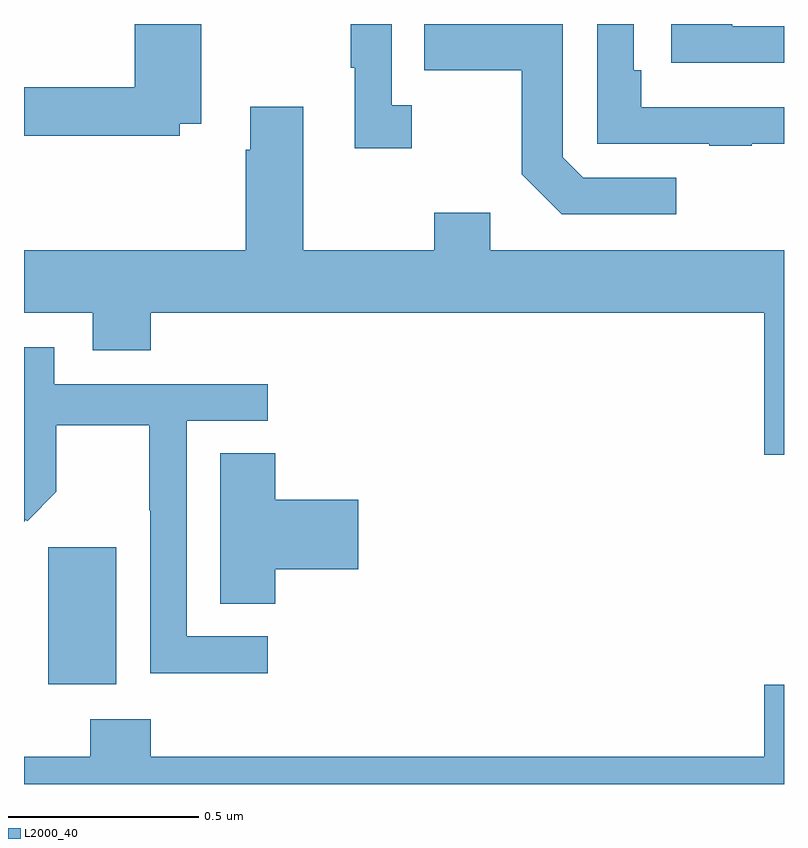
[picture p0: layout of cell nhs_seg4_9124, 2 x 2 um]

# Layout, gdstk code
import gdstk
lib = gdstk.Library(unit=1e-6, precision=1e-09)
def R(c, l, rs):  # rectangles x0, y0, x1, y1
    for r in rs: c.add(gdstk.rectangle(r[:2], r[2:], *l))
def P(c, l, *ps):  # polygons
    for p in ps: c.add(gdstk.Polygon(p, *l))
L2000_40 = (2000, 40)

nhs_seg4_9124 = lib.new_cell('nhs_seg4_9124')
R(nhs_seg4_9124, L2000_40, [(223.064,809.162,223.243,809.523)])
P(nhs_seg4_9124, L2000_40, [(224.915,810.585),(225,810.585),(225,810.681),(224.624,810.681),(224.624,810.778),(224.604,810.778),(224.604,810.9),(224.508,810.9),(224.508,810.585),(224.803,810.585),(224.803,810.58),(224.915,810.58)],
  [(224.716,810.495),(224.472,810.495),(224.418,810.549),(224.418,810.9),(224.053,810.9),(224.053,810.778),(224.31,810.778),(224.31,810.505),(224.415,810.399),(224.716,810.399)],
  [(225,810.894),(224.864,810.894),(224.864,810.9),(224.703,810.9),(224.703,810.798),(225,810.798)],
  [(223.41,810.638),(223.467,810.638),(223.467,810.9),(223.292,810.9),(223.292,810.734),(223,810.734),(223,810.606),(223.41,810.606)],
  [(224.02,810.686),(223.968,810.686),(223.968,810.9),(223.86,810.9),(223.86,810.785),(223.871,810.785),(223.871,810.573),(224.02,810.573)],
  [(225,810.304),(224.227,810.304),(224.227,810.403),(224.08,810.403),(224.08,810.304),(223.735,810.304),(223.735,810.682),(223.595,810.682),(223.595,810.569),(223.583,810.569),(223.583,810.304),(223,810.304),(223,810.14),(223.181,810.14),(223.181,810.041),(223.334,810.041),(223.334,810.14),(224.948,810.14),(224.948,809.766),(225,809.766)],
  [(223.642,809.289),(223.428,809.289),(223.428,809.856),(223.642,809.856),(223.642,809.952),(223.08,809.952),(223.08,810.049),(223,810.049),(223,809.59),(223.005,809.595),(223.008,809.592),(223.085,809.669),(223.085,809.844),(223.33,809.844),(223.33,809.62),(223.332,809.62),(223.332,809.191),(223.642,809.191)],
  [(223.661,809.465),(223.879,809.465),(223.879,809.648),(223.661,809.648),(223.661,809.771),(223.517,809.771),(223.517,809.374),(223.661,809.374)],
  [(225,809.161),(224.948,809.161),(224.948,808.972),(223.334,808.972),(223.334,809.071),(223.174,809.071),(223.174,808.972),(223,808.972),(223,808.9),(225,808.9)])

lib.write_gds('nhs_seg4_9124.gds')
